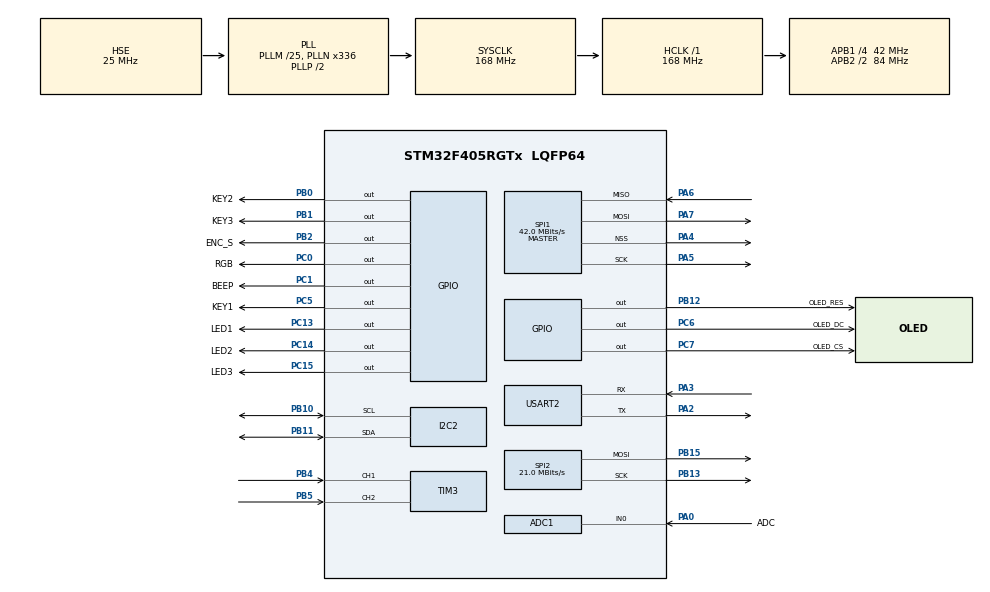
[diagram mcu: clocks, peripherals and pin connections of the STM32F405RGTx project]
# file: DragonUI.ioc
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ADC1.Channel-0\#ChannelRegularConversion=ADC_CHANNEL_0
ADC1.NbrOfConversionFlag=1
ADC1.Rank-0\#ChannelRegularConversion=1
ADC1.SamplingTime-0\#ChannelRegularConversion=ADC_SAMPLETIME_3CYCLES
ADC1.master=1
Dma.Request0=SPI2_TX
Dma.SPI2_TX.0.Direction=DMA_MEMORY_TO_PERIPH
Dma.SPI2_TX.0.FIFOMode=DMA_FIFOMODE_DISABLE
Dma.SPI2_TX.0.Instance=DMA1_Stream4
Dma.SPI2_TX.0.MemDataAlignment=DMA_MDATAALIGN_BYTE
Dma.SPI2_TX.0.MemInc=DMA_MINC_ENABLE
Dma.SPI2_TX.0.Mode=DMA_NORMAL
Dma.SPI2_TX.0.PeriphDataAlignment=DMA_PDATAALIGN_BYTE
Dma.SPI2_TX.0.PeriphInc=DMA_PINC_DISABLE
Dma.SPI2_TX.0.Priority=DMA_PRIORITY_LOW
Mcu.Family=STM32F4
Mcu.Name=STM32F405RGTx
Mcu.Package=LQFP64
NVIC.DMA1_Stream4_IRQn=true\:0\:0\:false\:false\:true\:false\:true\:true
NVIC.PriorityGroup=NVIC_PRIORITYGROUP_4
NVIC.TIM2_IRQn=true\:0\:0\:false\:false\:true\:true\:true\:true
NVIC.USART2_IRQn=true\:0\:0\:false\:false\:true\:true\:true\:true
PA0-WKUP.GPIO_Label=ADC
PA0-WKUP.Signal=ADCx_IN0
PA13.Mode=Serial_Wire
PA13.Signal=SYS_JTMS-SWDIO
PA14.Mode=Serial_Wire
PA14.Signal=SYS_JTCK-SWCLK
PA2.Mode=Asynchronous
PA2.Signal=USART2_TX
PA3.Mode=Asynchronous
PA3.Signal=USART2_RX
PA4.Mode=NSS_Signal_Hard_Output
PA4.Signal=SPI1_NSS
PA5.Mode=Full_Duplex_Master
PA5.Signal=SPI1_SCK
PA6.Mode=Full_Duplex_Master
PA6.Signal=SPI1_MISO
PA7.Mode=Full_Duplex_Master
PA7.Signal=SPI1_MOSI
PB0.GPIO_Label=KEY2
PB0.GPIO_Speed=GPIO_SPEED_FREQ_HIGH
PB0.PinState=GPIO_PIN_SET
PB0.Signal=GPIO_Output
PB1.GPIO_Label=KEY3
PB1.GPIO_Speed=GPIO_SPEED_FREQ_HIGH
PB1.PinState=GPIO_PIN_SET
PB1.Signal=GPIO_Output
PB10.Mode=I2C
PB10.Signal=I2C2_SCL
PB11.Mode=I2C
PB11.Signal=I2C2_SDA
PB12.GPIO_Label=OLED_RES
PB12.Signal=GPIO_Output
PB13.Mode=TX_Only_Simplex_Unidirect_Master
PB13.Signal=SPI2_SCK
PB15.Mode=TX_Only_Simplex_Unidirect_Master
PB15.Signal=SPI2_MOSI
PB2.GPIO_Label=ENC_S
PB2.GPIO_Speed=GPIO_SPEED_FREQ_HIGH
PB2.PinState=GPIO_PIN_SET
PB2.Signal=GPIO_Output
PB4.Signal=S_TIM3_CH1
PB5.Signal=S_TIM3_CH2
PC0.GPIO_Label=RGB
PC0.Signal=GPIO_Output
PC1.GPIO_Label=BEEP
PC1.Signal=GPIO_Output
PC13-ANTI_TAMP.GPIO_Label=LED1
PC13-ANTI_TAMP.GPIO_Speed=GPIO_SPEED_FREQ_LOW
PC13-ANTI_TAMP.PinState=GPIO_PIN_SET
PC13-ANTI_TAMP.Signal=GPIO_Output
PC14-OSC32_IN.GPIO_Label=LED2
PC14-OSC32_IN.PinState=GPIO_PIN_SET
PC14-OSC32_IN.Signal=GPIO_Output
PC15-OSC32_OUT.GPIO_Label=LED3
PC15-OSC32_OUT.PinState=GPIO_PIN_SET
PC15-OSC32_OUT.Signal=GPIO_Output
PC5.GPIO_Label=KEY1
PC5.GPIO_Speed=GPIO_SPEED_FREQ_HIGH
PC5.PinState=GPIO_PIN_SET
PC5.Signal=GPIO_Output
PC6.GPIO_Label=OLED_DC
PC6.Signal=GPIO_Output
PC7.GPIO_Label=OLED_CS
PC7.Signal=GPIO_Output
PH0-OSC_IN.Mode=HSE-External-Oscillator
PH0-OSC_IN.Signal=RCC_OSC_IN
PH1-OSC_OUT.Mode=HSE-External-Oscillator
PH1-OSC_OUT.Signal=RCC_OSC_OUT
ProjectManager.HeapSize=0x200
ProjectManager.StackSize=0x400
ProjectManager.TargetToolchain=STM32CubeIDE
RCC.48MHZClocksFreq_Value=48000000
RCC.AHBFreq_Value=168000000
RCC.APB1CLKDivider=RCC_HCLK_DIV4
RCC.APB1Freq_Value=42000000
RCC.APB1TimFreq_Value=84000000
RCC.APB2CLKDivider=RCC_HCLK_DIV2
RCC.APB2Freq_Value=84000000
RCC.APB2TimFreq_Value=168000000
RCC.CortexFreq_Value=168000000
RCC.HCLKFreq_Value=168000000
RCC.HSE_VALUE=25000000
RCC.HSI_VALUE=16000000
RCC.LSE_VALUE=32768
RCC.PLLM=25
RCC.PLLN=336
RCC.PLLQ=7
RCC.PLLSourceVirtual=RCC_PLLSOURCE_HSE
RCC.SYSCLKFreq_VALUE=168000000
RCC.SYSCLKSource=RCC_SYSCLKSOURCE_PLLCLK
RCC.VCOOutputFreq_Value=336000000
SH.ADCx_IN0.0=ADC1_IN0,IN0
SH.S_TIM3_CH1.0=TIM3_CH1,Encoder_Interface
SH.S_TIM3_CH2.0=TIM3_CH2,Encoder_Interface
SPI1.CalculateBaudRate=42.0 MBits/s
SPI1.Direction=SPI_DIRECTION_2LINES
SPI1.Mode=SPI_MODE_MASTER
SPI1.VirtualNSS=VM_NSSHARD
SPI1.VirtualType=VM_MASTER
SPI2.CalculateBaudRate=21.0 MBits/s
SPI2.Direction=SPI_DIRECTION_2LINES
SPI2.Mode=SPI_MODE_MASTER
SPI2.VirtualType=VM_MASTER
TIM2.AutoReloadPreload=TIM_AUTORELOAD_PRELOAD_ENABLE
TIM2.Period=2000
TIM2.Prescaler=1680-1
USART2.VirtualMode=VM_ASYNC
VP_TIM2_VS_ClockSourceINT.Mode=Internal
board=custom

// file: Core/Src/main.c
/* USER CODE BEGIN Header */
/**
  ******************************************************************************
  * @file           : main.c
  * @brief          : Main program body
  ******************************************************************************
  * @attention
  *
  * Copyright (c) 2025 STMicroelectronics.
  * All rights reserved.
  *
  * This software is licensed under terms that can be found in the LICENSE file
  * in the root directory of this software component.
  * If no LICENSE file comes with this software, it is provided AS-IS.
  *
  ******************************************************************************
  */
/* USER CODE END Header */
#include "main.h"
#include "adc.h"
#include "dma.h"
#include "i2c.h"
#include "spi.h"
#include "tim.h"
#include "usart.h"
#include "gpio.h"

/* USER CODE BEGIN Includes */
#include "../../User/key.h"
/* USER CODE END Includes */

void SystemClock_Config(void);

/* USER CODE BEGIN 0 */
uint32_t enc_val = 0;
uint8_t enc_num = 0;
char data[20] = {0};
uint8_t sw_num = 0;
/* USER CODE END 0 */

int main(void)
{

  /* MCU Configuration--------------------------------------------------------*/

  /* Reset of all peripherals, Initializes the Flash interface and the Systick. */
  HAL_Init();

  /* Configure the system clock */
  SystemClock_Config();

  /* Initialize all configured peripherals */
  MX_GPIO_Init();
  MX_DMA_Init();
  MX_ADC1_Init();
  MX_I2C2_Init();
  MX_SPI1_Init();
  MX_SPI2_Init();
  MX_TIM3_Init();
  MX_USART2_UART_Init();
  MX_TIM2_Init();
  /* USER CODE BEGIN 2 */
  __HAL_TIM_CLEAR_IT(&htim2, TIM_IT_UPDATE);
  HAL_TIM_Encoder_Start(&htim2, TIM_CHANNEL_ALL);
  __HAL_TIM_ENABLE_IT(&htim2, TIM_IT_UPDATE);

  HAL_TIM_Base_Start_IT(&htim3);

  dragon_ui_driver_init();
  dragon_ui_init(&home_page);
  MenuItemType shift_flag = 0;
  oled_clear_buffer();
  draw();
  /* USER CODE END 2 */

  /* Infinite loop */
  while (1)
  {

    /* USER CODE BEGIN 3 */
    // Encoder_Scanf();
    // if (Key_Check(KEY_0, KEY_SINGLE)) {
    //   shift_flag = ui_next_page;
    //   switch_page(shift_flag);
    // }
    // if (Key_Check(KEY_0, KEY_DOUBLE)) {
    //   shift_flag = ui_pre_page;
    //   switch_page(shift_flag);
    // }
    // // switch_page(shift_flag);
    // // shift_flag = 0;
    // // char str[20] = {0};
    // // memset(str, 0, sizeof(str));
    // // sprintf(str, "%d", sw_num);
    // // oled_draw_str(100, 24, str);
    // // sprintf(str, "%d", public_menu_page->ActiveMenuID);
    // // oled_draw_str(100, 12, str);
    // // update_option_frame(public_menu_page, AnimationTotalStep, public_menu_page->MovingSpeed);
    // dragon_ui_draw_item(public_menu_page);
  }
  /* USER CODE END 3 */
}

void SystemClock_Config(void)
{
  RCC_OscInitTypeDef RCC_OscInitStruct = {0};
  RCC_ClkInitTypeDef RCC_ClkInitStruct = {0};

  /** Configure the main internal regulator output voltage
  */
  __HAL_RCC_PWR_CLK_ENABLE();
  __HAL_PWR_VOLTAGESCALING_CONFIG(PWR_REGULATOR_VOLTAGE_SCALE1);

  /** Initializes the RCC Oscillators according to the specified parameters
  * in the RCC_OscInitTypeDef structure.
  */
  RCC_OscInitStruct.OscillatorType = RCC_OSCILLATORTYPE_HSE;
  RCC_OscInitStruct.HSEState = RCC_HSE_ON;
  RCC_OscInitStruct.PLL.PLLState = RCC_PLL_ON;
  RCC_OscInitStruct.PLL.PLLSource = RCC_PLLSOURCE_HSE;
  RCC_OscInitStruct.PLL.PLLM = 25;
  RCC_OscInitStruct.PLL.PLLN = 336;
  RCC_OscInitStruct.PLL.PLLP = RCC_PLLP_DIV2;
  RCC_OscInitStruct.PLL.PLLQ = 7;
  if (HAL_RCC_OscConfig(&RCC_OscInitStruct) != HAL_OK)
  {
    Error_Handler();
  }

  /** Initializes the CPU, AHB and APB buses clocks
  */
  RCC_ClkInitStruct.ClockType = RCC_CLOCKTYPE_HCLK|RCC_CLOCKTYPE_SYSCLK
                              |RCC_CLOCKTYPE_PCLK1|RCC_CLOCKTYPE_PCLK2;
  RCC_ClkInitStruct.SYSCLKSource = RCC_SYSCLKSOURCE_PLLCLK;
  RCC_ClkInitStruct.AHBCLKDivider = RCC_SYSCLK_DIV1;
  RCC_ClkInitStruct.APB1CLKDivider = RCC_HCLK_DIV4;
  RCC_ClkInitStruct.APB2CLKDivider = RCC_HCLK_DIV2;

  if (HAL_RCC_ClockConfig(&RCC_ClkInitStruct, FLASH_LATENCY_5) != HAL_OK)
  {
    Error_Handler();
  }
}

/* USER CODE BEGIN 4 */
void HAL_TIM_PeriodElapsedCallback(TIM_HandleTypeDef *htim) {
  if (htim->Instance == TIM3) {
    Key_Tick();
  }
}
/* USER CODE END 4 */

void Error_Handler(void)
{
  __disable_irq();
  while (1)
  {
  }
}
